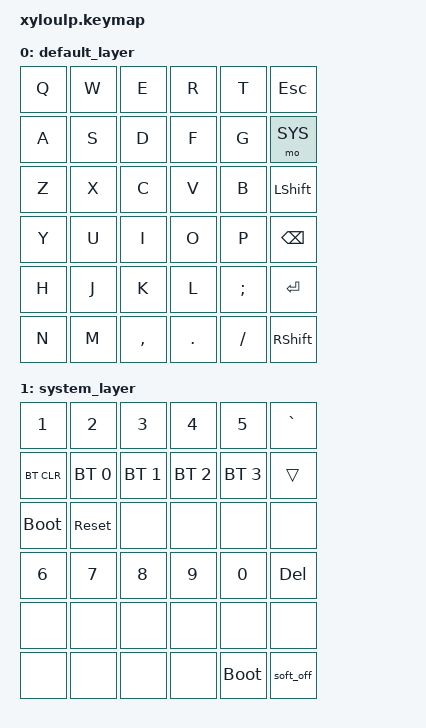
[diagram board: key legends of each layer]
/* xyloulp.keymap */
#include <behaviors.dtsi>
#include <dt-bindings/zmk/keys.h>
#include <dt-bindings/zmk/bt.h>
#include <dt-bindings/zmk/outputs.h>

/* 레이어 정의 */
#define DEF 0
#define SYS 1

/ {
    keymap {
        compatible = "zmk,keymap";

        /* 기본 레이어: 모든 키가 단순 문자로 작동 (테스트용) */
        default_layer {
            bindings = <
/* LEFT (R0~R2) ----------------------------------------------------------- */
    &kp Q      &kp W      &kp E      &kp R      &kp T      &kp ESC
    &kp A      &kp S      &kp D      &kp F      &kp G      &mo SYS   /* TAB 대신 레이어 키 배치 */
    &kp Z      &kp X      &kp C      &kp V      &kp B      &kp LSHIFT

/* RIGHT (R3~R5) ---------------------------------------------------------- */
    &kp Y      &kp U      &kp I      &kp O      &kp P      &kp BSPC
    &kp H      &kp J      &kp K      &kp L      &kp SEMI   &kp RET
    &kp N      &kp M      &kp COMMA  &kp DOT    &kp SLASH  &kp RSHIFT
            >;
        };

        /* 시스템 레이어: 블루투스 초기화 및 부트로더 진입용 */
        system_layer {
            bindings = <
/* LEFT ------------------------------------------------------------------- */
    &kp N1     &kp N2     &kp N3     &kp N4     &kp N5     &kp GRAVE
    &bt BT_CLR &bt BT_SEL 0 &bt BT_SEL 1 &bt BT_SEL 2 &bt BT_SEL 3 &trans
    &bootloader &sys_reset &none      &none      &none      &none

/* RIGHT ------------------------------------------------------------------ */
    &kp N6     &kp N7     &kp N8     &kp N9     &kp N0     &kp DEL
    &none      &none      &none      &none      &none      &none
    &none      &none      &none      &none      &bootloader &soft_off
            >;
        };
    };
};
